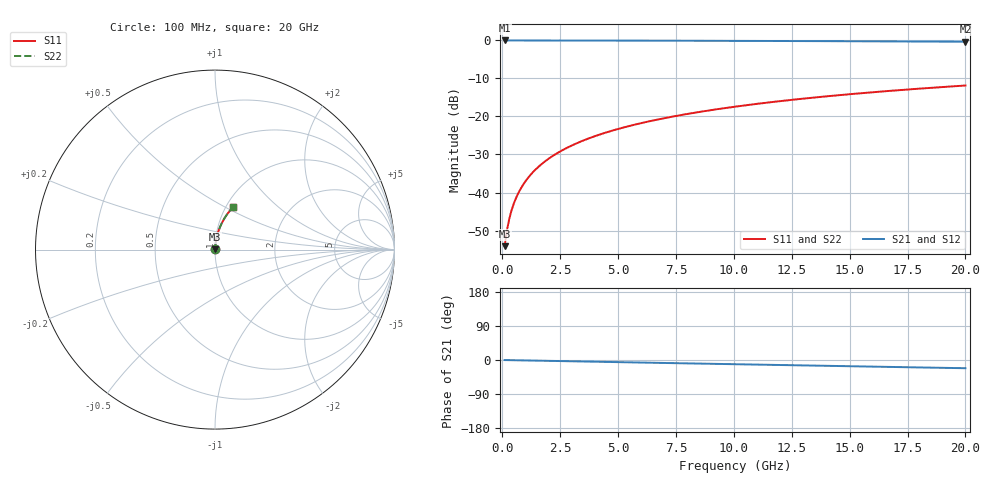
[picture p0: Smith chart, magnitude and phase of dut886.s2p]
! Touchstone file exported from HFSS 2026.1.0
!  File:  C:/ffzhzh/LocalFiles/Ansys_Project_Files/temp_train_BSMRDL_886_1783171155_18472.aedt
!  Generated:  09:20:30 PM Jul  4, 2026
!  Design:  BSMRDL
!  Project:  temp_train_BSMRDL_886_1783171155_18472
! Variables:
!  h_bsmrdl = 4.66um
!  h_ox = 20um
!  h_rdl = 5um
!  h_sub = 80um
!  h_tmrdl = 5um
!  h_tsv = 80um
!  h_via = 3um
!  l_bsmrdl = 248.82um
!  l_sub = 648.82um
!  l_tmrdl = 200um
!  m_sub = 200um
!  pitch = 52.55um
!  r_tsv = 6um
!  s_tmrdl = 10um
!  w_bsmrdl = 15.65um
!  w_sub = 500um
!  w_tmrdl = 12um
!  x_tsv_center1 = 206um
!  x_tsv_center2 = 470.47um
!  x_tsv_center3 = 682.47um
!  x_tsv_center4 = 946.94um
!  x_tsv_center5 = 1158.94um
!  x_tsv_center6 = 1423.41um
# GHz S MA R 50.000000
! Terminal data exported
! Port[1] = BSM_RDL1_1_T1
! Port[2] = BSM_RDL1_1_T2
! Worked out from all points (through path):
!   200 points, 100 MHz to 20 GHz, reference 50 ohm
!   highest |S21| = -0.01 dB at 100 MHz (marker M1); lowest = -0.3 dB at 20 GHz (marker M2)
!   group delay of S21, straight-line fit = 3.01 ps
!   lowest |S11| = -54.1 dB at 100 MHz (marker M3), VSWR 1.00, Z = 50.1 + j0.145 ohm
!   |S11| at or under -10 dB: start of sweep to end of sweep
!   |S22| runs from -54.1 to -11.9 dB; largest |S21 - S12| = 3.5e-15
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0.1  0.001971 47.2  0.9987 -0.1  0.9987 -0.1  0.001971 47.2
! Gamma 0 0 0 0
! Port Impedance 50 0 50 0
0.2  0.003183 64.1  0.9986 -0.2  0.9986 -0.2  0.003183 64.1
0.3  0.004495 71.3  0.9986 -0.3  0.9986 -0.3  0.004495 71.3
0.4  0.005835 75.2  0.9985 -0.5  0.9985 -0.5  0.005835 75.2
0.5  0.007189 77.6  0.9985 -0.6  0.9985 -0.6  0.007189 77.6
0.7  0.009921 80.5  0.9984 -0.8  0.9984 -0.8  0.009921 80.5
0.8  0.01129 81.3  0.9984 -0.9  0.9984 -0.9  0.01129 81.4
1  0.01405 82.5  0.9983 -1.1  0.9983 -1.1  0.01405 82.5
1.2  0.01681 83.2  0.9982 -1.4  0.9982 -1.4  0.01681 83.2
1.4  0.01957 83.6  0.9981 -1.6  0.9981 -1.6  0.01957 83.6
1.7  0.0237 83.9  0.998 -1.9  0.998 -1.9  0.0237 83.9
2  0.02783 84.1  0.9978 -2.3  0.9978 -2.3  0.02783 84.1
2.7  0.03743 83.9  0.9973 -3.1  0.9973 -3.1  0.03743 83.9
3.5  0.04832 83.4  0.9966 -4.0  0.9966 -4.0  0.04832 83.4
4.2  0.05778 82.8  0.9958 -4.7  0.9958 -4.7  0.05778 82.8
5  0.06851 82.0  0.9949 -5.6  0.9949 -5.6  0.06851 82.0
6.8  0.09235 80.3  0.9924 -7.6  0.9924 -7.6  0.09235 80.3
8.3  0.1119 78.8  0.9899 -9.3  0.9899 -9.3  0.1119 78.8
10.1  0.1351 77.0  0.9866 -11.2  0.9866 -11.2  0.1351 77.0
13.4  0.1766 73.6  0.9794 -14.8  0.9794 -14.8  0.1766 73.6
16.7  0.2167 70.3  0.9709 -18.3  0.9709 -18.3  0.2167 70.3
20  0.2552 67.0  0.9611 -21.7  0.9611 -21.7  0.2552 67.0
